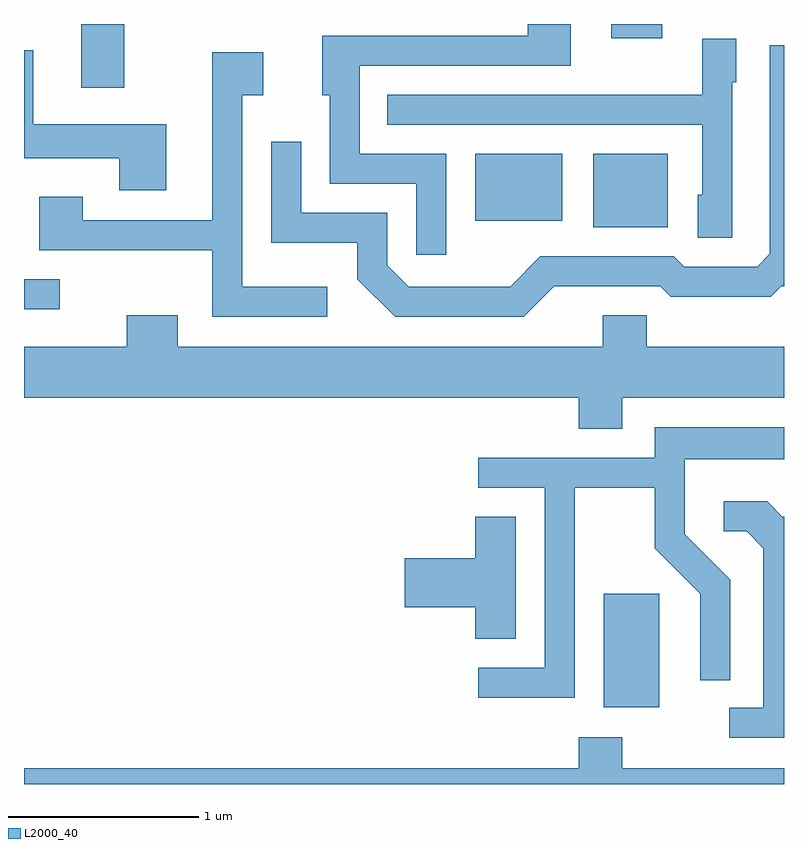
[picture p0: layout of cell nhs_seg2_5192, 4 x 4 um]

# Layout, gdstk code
import gdstk
lib = gdstk.Library(unit=1e-6, precision=1e-09)
def R(c, l, rs):  # rectangles x0, y0, x1, y1
    for r in rs: c.add(gdstk.rectangle(r[:2], r[2:], *l))
def P(c, l, *ps):  # polygons
    for p in ps: c.add(gdstk.Polygon(p, *l))
L2000_40 = (2000, 40)

nhs_seg2_5192 = lib.new_cell('nhs_seg2_5192')
R(nhs_seg2_5192, L2000_40, [(340.661,1082.206,340.954,1082.804), (337.611,1084.301,337.798,1084.459), (340.606,1084.731,340.999,1085.119), (339.986,1084.766,340.444,1085.119), (337.911,1085.466,338.139,1085.802), (340.701,1085.726,340.969,1085.802)])
P(nhs_seg2_5192, L2000_40, [(339.834,1085.119),(339.379,1085.119),(339.379,1085.581),(340.489,1085.581),(340.489,1085.802),(340.261,1085.802),(340.261,1085.739),(339.181,1085.739),(339.181,1085.426),(339.221,1085.426),(339.221,1084.961),(339.676,1084.961),(339.676,1084.588),(339.834,1084.588)],
  [(341.339,1085.496),(341.359,1085.496),(341.359,1085.724),(341.181,1085.724),(341.181,1085.429),(339.523,1085.429),(339.523,1085.271),(341.181,1085.271),(341.181,1084.904),(341.156,1084.904),(341.156,1084.676),(341.339,1084.676)],
  [(340.402,1084.421),(340.959,1084.421),(341.014,1084.366),(341.542,1084.366),(341.597,1084.421),(341.611,1084.421),(341.611,1085.689),(341.536,1085.689),(341.536,1084.592),(341.469,1084.524),(341.087,1084.524),(341.032,1084.579),(340.329,1084.579),(340.169,1084.419),(339.637,1084.419),(339.524,1084.532),(339.524,1084.809),(339.069,1084.809),(339.069,1085.183),(338.911,1085.183),(338.911,1084.651),(339.366,1084.651),(339.366,1084.459),(339.564,1084.261),(340.242,1084.261)],
  [(338.359,1085.274),(337.659,1085.274),(337.659,1085.663),(337.611,1085.663),(337.611,1085.096),(338.111,1085.096),(338.111,1084.926),(338.359,1084.926)],
  [(339.208,1084.419),(338.759,1084.419),(338.759,1085.426),(338.869,1085.426),(338.869,1085.654),(338.601,1085.654),(338.601,1084.769),(337.919,1084.769),(337.919,1084.894),(337.691,1084.894),(337.691,1084.611),(338.601,1084.611),(338.601,1084.261),(339.208,1084.261)],
  [(340.759,1083.836),(341.611,1083.836),(341.611,1084.104),(340.889,1084.104),(340.889,1084.269),(340.656,1084.269),(340.656,1084.104),(338.419,1084.104),(338.419,1084.269),(338.151,1084.269),(338.151,1084.104),(337.611,1084.104),(337.611,1083.836),(340.531,1083.836),(340.531,1083.671),(340.759,1083.671)],
  [(340.509,1083.361),(340.931,1083.361),(340.931,1083.044),(341.171,1082.804),(341.171,1082.348),(341.329,1082.348),(341.329,1082.877),(341.089,1083.117),(341.089,1083.511),(341.611,1083.511),(341.611,1083.679),(340.931,1083.679),(340.931,1083.519),(340.003,1083.519),(340.003,1083.361),(340.351,1083.361),(340.351,1082.414),(340.003,1082.414),(340.003,1082.256),(340.509,1082.256)],
  [(341.611,1083.209),(341.602,1083.209),(341.522,1083.289),(341.293,1083.289),(341.293,1083.131),(341.414,1083.131),(341.501,1083.044),(341.501,1082.204),(341.323,1082.204),(341.323,1082.046),(341.611,1082.046)],
  [(340.199,1083.209),(339.986,1083.209),(339.986,1082.989),(339.616,1082.989),(339.616,1082.731),(339.986,1082.731),(339.986,1082.566),(340.199,1082.566)],
  [(341.611,1081.884),(340.759,1081.884),(340.759,1082.049),(340.531,1082.049),(340.531,1081.884),(337.611,1081.884),(337.611,1081.802),(341.611,1081.802)])

lib.write_gds('nhs_seg2_5192.gds')
